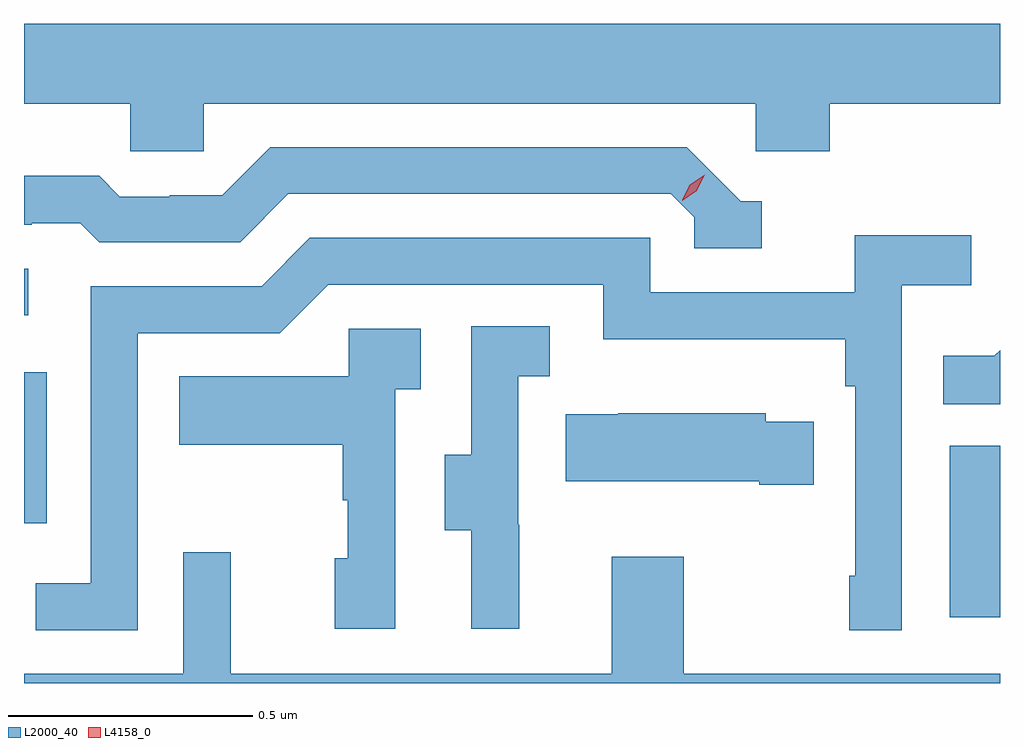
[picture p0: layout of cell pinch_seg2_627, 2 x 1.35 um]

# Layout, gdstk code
import gdstk
lib = gdstk.Library(unit=1e-6, precision=1e-09)
def R(c, l, rs):  # rectangles x0, y0, x1, y1
    for r in rs: c.add(gdstk.rectangle(r[:2], r[2:], *l))
def P(c, l, *ps):  # polygons
    for p in ps: c.add(gdstk.Polygon(p, *l))
L2000_40 = (2000, 40)
L4158_0 = (4158, 0)

pinch_seg2_627 = lib.new_cell('pinch_seg2_627')
R(pinch_seg2_627, L2000_40, [(1025.15,622.608,1025.253,622.959), (1023.253,622.8,1023.3,623.11), (1023.253,623.226,1023.262,623.322)])
P(pinch_seg2_627, L2000_40, [(1023.621,623.66),(1024.752,623.66),(1024.752,623.562),(1024.904,623.562),(1024.904,623.66),(1025.253,623.66),(1025.253,623.824),(1023.253,623.824),(1023.253,623.66),(1023.471,623.66),(1023.471,623.562),(1023.621,623.562)],
  [(1024.765,623.46),(1024.722,623.46),(1024.611,623.571),(1023.758,623.571),(1023.659,623.472),(1023.552,623.472),(1023.552,623.469),(1023.449,623.469),(1023.407,623.512),(1023.253,623.512),(1023.253,623.412),(1023.269,623.412),(1023.269,623.415),(1023.368,623.415),(1023.407,623.376),(1023.696,623.376),(1023.795,623.475),(1024.578,623.475),(1024.626,623.427),(1024.626,623.364),(1024.765,623.364)],
  [(1023.486,623.19),(1023.777,623.19),(1023.876,623.289),(1024.44,623.289),(1024.44,623.177),(1024.936,623.177),(1024.936,623.081),(1024.956,623.081),(1024.956,622.693),(1024.944,622.693),(1024.944,622.581),(1025.052,622.581),(1025.052,623.288),(1025.194,623.288),(1025.194,623.39),(1024.955,623.39),(1024.955,623.274),(1024.536,623.274),(1024.536,623.385),(1023.839,623.385),(1023.74,623.286),(1023.39,623.286),(1023.39,622.677),(1023.277,622.677),(1023.277,622.581),(1023.486,622.581)],
  [(1024.268,622.797),(1024.266,622.797),(1024.266,623.101),(1024.33,623.101),(1024.33,623.204),(1024.17,623.204),(1024.17,622.941),(1024.115,622.941),(1024.115,622.786),(1024.169,622.786),(1024.169,622.584),(1024.268,622.584)],
  [(1024.014,623.075),(1024.066,623.075),(1024.066,623.199),(1023.918,623.199),(1023.918,623.101),(1023.571,623.101),(1023.571,622.961),(1023.906,622.961),(1023.906,622.847),(1023.916,622.847),(1023.916,622.728),(1023.89,622.728),(1023.89,622.584),(1024.014,622.584)],
  [(1025.253,623.155),(1025.241,623.143),(1025.137,623.143),(1025.137,623.044),(1025.253,623.044)],
  [(1024.871,623.008),(1024.773,623.008),(1024.773,623.026),(1024.471,623.026),(1024.471,623.023),(1024.363,623.023),(1024.363,622.886),(1024.76,622.886),(1024.76,622.879),(1024.871,622.879)],
  [(1025.253,622.492),(1024.605,622.492),(1024.605,622.732),(1024.457,622.732),(1024.457,622.492),(1023.677,622.492),(1023.677,622.741),(1023.579,622.741),(1023.579,622.492),(1023.253,622.492),(1023.253,622.472),(1025.253,622.472)])
P(pinch_seg2_627, L4158_0, [(1024.602,623.461),(1024.602,623.462),(1024.617,623.494),(1024.648,623.514),(1024.648,623.514),(1024.648,623.514),(1024.632,623.481),(1024.602,623.461)])

lib.write_gds('pinch_seg2_627.gds')
